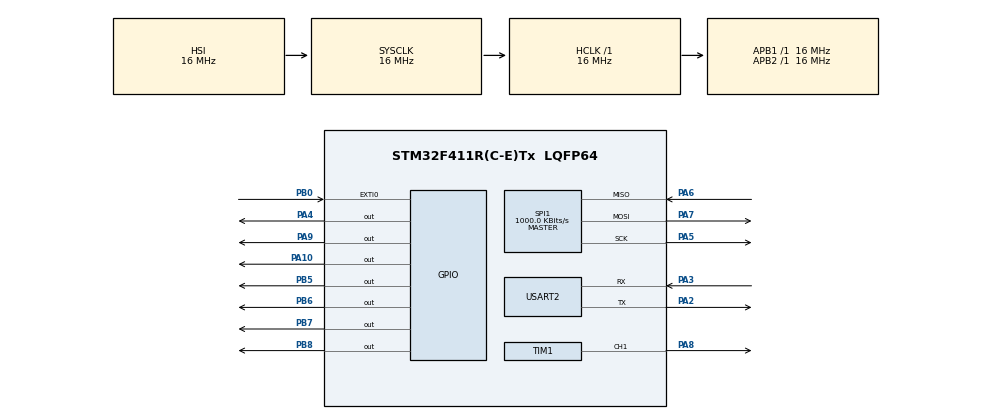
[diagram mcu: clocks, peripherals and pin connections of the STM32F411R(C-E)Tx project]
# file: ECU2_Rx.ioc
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Mcu.Family=STM32F4
Mcu.Name=STM32F411R(C-E)Tx
Mcu.Package=LQFP64
NVIC.EXTI0_IRQn=true\:0\:0\:false\:false\:true\:true\:true\:true
NVIC.PriorityGroup=NVIC_PRIORITYGROUP_4
PA10.Signal=GPIO_Output
PA2.Mode=Asynchronous
PA2.Signal=USART2_TX
PA3.Mode=Asynchronous
PA3.Signal=USART2_RX
PA4.Signal=GPIO_Output
PA5.Mode=Full_Duplex_Master
PA5.Signal=SPI1_SCK
PA6.Mode=Full_Duplex_Master
PA6.Signal=SPI1_MISO
PA7.Mode=Full_Duplex_Master
PA7.Signal=SPI1_MOSI
PA8.Signal=S_TIM1_CH1
PA9.Signal=GPIO_Output
PB0.GPIO_ModeDefaultEXTI=GPIO_MODE_IT_FALLING
PB0.GPIO_PuPd=GPIO_PULLUP
PB0.Signal=GPXTI0
PB5.Signal=GPIO_Output
PB6.Signal=GPIO_Output
PB7.Signal=GPIO_Output
PB8.Signal=GPIO_Output
ProjectManager.HeapSize=0x200
ProjectManager.StackSize=0x400
ProjectManager.TargetToolchain=STM32CubeIDE
RCC.AHBFreq_Value=16000000
RCC.APB1Freq_Value=16000000
RCC.APB2Freq_Value=16000000
RCC.CortexFreq_Value=16000000
RCC.HSE_VALUE=25000000
RCC.HSI_VALUE=16000000
RCC.LSE_VALUE=32768
RCC.SYSCLKFreq_VALUE=16000000
RCC.VCOOutputFreq_Value=192000000
SH.S_TIM1_CH1.0=TIM1_CH1,PWM Generation1 CH1
SPI1.BaudRatePrescaler=SPI_BAUDRATEPRESCALER_16
SPI1.CalculateBaudRate=1000.0 KBits/s
SPI1.Direction=SPI_DIRECTION_2LINES
SPI1.Mode=SPI_MODE_MASTER
SPI1.VirtualType=VM_MASTER
TIM1.Channel-PWM\ Generation1\ CH1=TIM_CHANNEL_1
TIM1.Period=99
TIM1.Prescaler=83
USART2.VirtualMode=VM_ASYNC
VP_TIM1_VS_ClockSourceINT.Mode=Internal
board=custom

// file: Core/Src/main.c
/* USER CODE BEGIN Header */
/**
  ******************************************************************************
  * @file           : main.c
  * @brief          : Main program body
  ******************************************************************************
  * @attention
  *
  * Copyright (c) 2026 STMicroelectronics.
  * All rights reserved.
  *
  * This software is licensed under terms that can be found in the LICENSE file
  * in the root directory of this software component.
  * If no LICENSE file comes with this software, it is provided AS-IS.
  *
  ******************************************************************************
  */
/* USER CODE END Header */
#include "main.h"

/* USER CODE BEGIN Includes */
#include "mcp2515.h"
#include <stdio.h>
#include <string.h>

/* USER CODE END Includes */

/* USER CODE BEGIN PD */
#define MOTOR_IN1_PORT GPIOA
#define MOTOR_IN1_PIN  GPIO_PIN_9

#define MOTOR_IN2_PORT GPIOA
#define MOTOR_IN2_PIN  GPIO_PIN_10

#define PWM_MAX        100

#define BUZZER_PORT GPIOB
#define BUZZER_PIN  GPIO_PIN_5

/* RGB LED */
#define RGB_R_PORT GPIOB
#define RGB_R_PIN  GPIO_PIN_6

#define RGB_G_PORT GPIOB
#define RGB_G_PIN  GPIO_PIN_7

#define RGB_B_PORT GPIOB
#define RGB_B_PIN  GPIO_PIN_8

/* USER CODE END PD */

SPI_HandleTypeDef hspi1;

TIM_HandleTypeDef htim1;

UART_HandleTypeDef huart2;

/* USER CODE BEGIN PV */
volatile uint8_t canRxFlag = 0;
char uartBuf[64];

/* USER CODE END PV */

void SystemClock_Config(void);
static void MX_GPIO_Init(void);
static void MX_SPI1_Init(void);
static void MX_TIM1_Init(void);
static void MX_USART2_UART_Init(void);

/* USER CODE BEGIN 0 */
void HAL_GPIO_EXTI_Callback(uint16_t GPIO_Pin)
{
    if(GPIO_Pin == GPIO_PIN_0)
    {
        canRxFlag = 1;
    }
}

void Motor_Stop(void)
{
    HAL_GPIO_WritePin(MOTOR_IN1_PORT, MOTOR_IN1_PIN, GPIO_PIN_RESET);
    HAL_GPIO_WritePin(MOTOR_IN2_PORT, MOTOR_IN2_PIN, GPIO_PIN_RESET);
    __HAL_TIM_SET_COMPARE(&htim1, TIM_CHANNEL_1, 0);
}

void Motor_Forward(uint8_t speed)
{
    HAL_GPIO_WritePin(MOTOR_IN1_PORT, MOTOR_IN1_PIN, GPIO_PIN_SET);
    HAL_GPIO_WritePin(MOTOR_IN2_PORT, MOTOR_IN2_PIN, GPIO_PIN_RESET);
    __HAL_TIM_SET_COMPARE(&htim1, TIM_CHANNEL_1, speed);
}

void Motor_Brake(void)
{
    HAL_GPIO_WritePin(MOTOR_IN1_PORT, MOTOR_IN1_PIN, GPIO_PIN_SET);
    HAL_GPIO_WritePin(MOTOR_IN2_PORT, MOTOR_IN2_PIN, GPIO_PIN_SET);
    __HAL_TIM_SET_COMPARE(&htim1, TIM_CHANNEL_1, 0);
}

void Buzzer_On(void)
{
    HAL_GPIO_WritePin(BUZZER_PORT, BUZZER_PIN, GPIO_PIN_SET);
}

void Buzzer_Off(void)
{
    HAL_GPIO_WritePin(BUZZER_PORT, BUZZER_PIN, GPIO_PIN_RESET);
}

/* ----------- RGB LED ----------- */
void RGB_Off(void)
{
    HAL_GPIO_WritePin(RGB_R_PORT, RGB_R_PIN, GPIO_PIN_RESET);
    HAL_GPIO_WritePin(RGB_G_PORT, RGB_G_PIN, GPIO_PIN_RESET);
    HAL_GPIO_WritePin(RGB_B_PORT, RGB_B_PIN, GPIO_PIN_RESET);
}

void RGB_Red(void)
{
    RGB_Off();
    HAL_GPIO_WritePin(RGB_R_PORT, RGB_R_PIN, GPIO_PIN_SET);
}

void RGB_Yellow(void)
{
    RGB_Off();
    HAL_GPIO_WritePin(RGB_R_PORT, RGB_R_PIN, GPIO_PIN_SET);
    HAL_GPIO_WritePin(RGB_G_PORT, RGB_G_PIN, GPIO_PIN_SET);
}

void RGB_Green(void)
{
    RGB_Off();
    HAL_GPIO_WritePin(RGB_G_PORT, RGB_G_PIN, GPIO_PIN_SET);
}

/* USER CODE END 0 */

int main(void)
{

  /* MCU Configuration--------------------------------------------------------*/

  /* Reset of all peripherals, Initializes the Flash interface and the Systick. */
  HAL_Init();

  /* Configure the system clock */
  SystemClock_Config();

  /* Initialize all configured peripherals */
  MX_GPIO_Init();
  MX_SPI1_Init();
  MX_TIM1_Init();
  MX_USART2_UART_Init();
  /* USER CODE BEGIN 2 */
  MCP2515_Init();
  HAL_TIM_PWM_Start(&htim1, TIM_CHANNEL_1);
  Motor_Stop();
  Buzzer_Off();
  RGB_Off();

  /* USER CODE END 2 */

  /* Infinite loop */
  /* USER CODE BEGIN WHILE */
  while (1)
  {
	    if(canRxFlag)
	    {
	        canRxFlag = 0;

	        uint16_t id;
	        uint8_t rxData[8];

	        if(MCP2515_ReceiveMessage(&id, rxData))
	        {
	            uint16_t distance = (rxData[0] << 8) | rxData[1];
	            uint8_t irLeft  = rxData[2];
	            uint8_t irRight = rxData[3];

	            sprintf(uartBuf,
	                    "Dist:%dcm | IR_L:%d | IR_R:%d\r\n",
	                    distance, irLeft, irRight);

	            HAL_UART_Transmit(&huart2,
	                              (uint8_t*)uartBuf,
	                              strlen(uartBuf),
	                              100);

	            /* Motor Control */

	            if(distance < 20 || (irLeft == 0 && irRight == 0))
	            {
	                Motor_Brake();
	                Buzzer_On();
	                RGB_Red();

	                sprintf(uartBuf, "BRAKE!\r\n");
	            }

	            else if(irLeft == 0 || irRight == 0)
	            {
	                Motor_Forward(40);
	                Buzzer_On();
	                RGB_Yellow();

	                sprintf(uartBuf, "OBSTACLE\r\n");
	            }

	            else if(distance < 50)
	            {
	                Motor_Forward(30);
	                Buzzer_Off();
	                RGB_Yellow();

	                sprintf(uartBuf, "SLOW\r\n");
	            }

	            else
	            {
	                Motor_Forward(70);
	                Buzzer_Off();
	                RGB_Off();          // <-- Turn OFF LED in normal state

	                sprintf(uartBuf, "NORMAL\r\n");
	            }

	            HAL_UART_Transmit(&huart2,
	                              (uint8_t*)uartBuf,
	                              strlen(uartBuf),
	                              100);
	        }
	    }
    /* USER CODE END WHILE */

  }
}

void SystemClock_Config(void)
{
  RCC_OscInitTypeDef RCC_OscInitStruct = {0};
  RCC_ClkInitTypeDef RCC_ClkInitStruct = {0};

  /** Configure the main internal regulator output voltage
  */
  __HAL_RCC_PWR_CLK_ENABLE();
  __HAL_PWR_VOLTAGESCALING_CONFIG(PWR_REGULATOR_VOLTAGE_SCALE1);

  /** Initializes the RCC Oscillators according to the specified parameters
  * in the RCC_OscInitTypeDef structure.
  */
  RCC_OscInitStruct.OscillatorType = RCC_OSCILLATORTYPE_HSI;
  RCC_OscInitStruct.HSIState = RCC_HSI_ON;
  RCC_OscInitStruct.HSICalibrationValue = RCC_HSICALIBRATION_DEFAULT;
  RCC_OscInitStruct.PLL.PLLState = RCC_PLL_NONE;
  if (HAL_RCC_OscConfig(&RCC_OscInitStruct) != HAL_OK)
  {
    Error_Handler();
  }

  /** Initializes the CPU, AHB and APB buses clocks
  */
  RCC_ClkInitStruct.ClockType = RCC_CLOCKTYPE_HCLK|RCC_CLOCKTYPE_SYSCLK
                              |RCC_CLOCKTYPE_PCLK1|RCC_CLOCKTYPE_PCLK2;
  RCC_ClkInitStruct.SYSCLKSource = RCC_SYSCLKSOURCE_HSI;
  RCC_ClkInitStruct.AHBCLKDivider = RCC_SYSCLK_DIV1;
  RCC_ClkInitStruct.APB1CLKDivider = RCC_HCLK_DIV1;
  RCC_ClkInitStruct.APB2CLKDivider = RCC_HCLK_DIV1;

  if (HAL_RCC_ClockConfig(&RCC_ClkInitStruct, FLASH_LATENCY_0) != HAL_OK)
  {
    Error_Handler();
  }
}

static void MX_SPI1_Init(void)
{

  /* SPI1 parameter configuration*/
  hspi1.Instance = SPI1;
  hspi1.Init.Mode = SPI_MODE_MASTER;
  hspi1.Init.Direction = SPI_DIRECTION_2LINES;
  hspi1.Init.DataSize = SPI_DATASIZE_8BIT;
  hspi1.Init.CLKPolarity = SPI_POLARITY_LOW;
  hspi1.Init.CLKPhase = SPI_PHASE_1EDGE;
  hspi1.Init.NSS = SPI_NSS_SOFT;
  hspi1.Init.BaudRatePrescaler = SPI_BAUDRATEPRESCALER_16;
  hspi1.Init.FirstBit = SPI_FIRSTBIT_MSB;
  hspi1.Init.TIMode = SPI_TIMODE_DISABLE;
  hspi1.Init.CRCCalculation = SPI_CRCCALCULATION_DISABLE;
  hspi1.Init.CRCPolynomial = 10;
  if (HAL_SPI_Init(&hspi1) != HAL_OK)
  {
    Error_Handler();
  }

}

static void MX_TIM1_Init(void)
{

  TIM_ClockConfigTypeDef sClockSourceConfig = {0};
  TIM_MasterConfigTypeDef sMasterConfig = {0};
  TIM_OC_InitTypeDef sConfigOC = {0};
  TIM_BreakDeadTimeConfigTypeDef sBreakDeadTimeConfig = {0};

  htim1.Instance = TIM1;
  htim1.Init.Prescaler = 83;
  htim1.Init.CounterMode = TIM_COUNTERMODE_UP;
  htim1.Init.Period = 99;
  htim1.Init.ClockDivision = TIM_CLOCKDIVISION_DIV1;
  htim1.Init.RepetitionCounter = 0;
  htim1.Init.AutoReloadPreload = TIM_AUTORELOAD_PRELOAD_DISABLE;
  if (HAL_TIM_Base_Init(&htim1) != HAL_OK)
  {
    Error_Handler();
  }
  sClockSourceConfig.ClockSource = TIM_CLOCKSOURCE_INTERNAL;
  if (HAL_TIM_ConfigClockSource(&htim1, &sClockSourceConfig) != HAL_OK)
  {
    Error_Handler();
  }
  if (HAL_TIM_PWM_Init(&htim1) != HAL_OK)
  {
    Error_Handler();
  }
  sMasterConfig.MasterOutputTrigger = TIM_TRGO_RESET;
  sMasterConfig.MasterSlaveMode = TIM_MASTERSLAVEMODE_DISABLE;
  if (HAL_TIMEx_MasterConfigSynchronization(&htim1, &sMasterConfig) != HAL_OK)
  {
    Error_Handler();
  }
  sConfigOC.OCMode = TIM_OCMODE_PWM1;
  sConfigOC.Pulse = 0;
  sConfigOC.OCPolarity = TIM_OCPOLARITY_HIGH;
  sConfigOC.OCNPolarity = TIM_OCNPOLARITY_HIGH;
  sConfigOC.OCFastMode = TIM_OCFAST_DISABLE;
  sConfigOC.OCIdleState = TIM_OCIDLESTATE_RESET;
  sConfigOC.OCNIdleState = TIM_OCNIDLESTATE_RESET;
  if (HAL_TIM_PWM_ConfigChannel(&htim1, &sConfigOC, TIM_CHANNEL_1) != HAL_OK)
  {
    Error_Handler();
  }
  sBreakDeadTimeConfig.OffStateRunMode = TIM_OSSR_DISABLE;
  sBreakDeadTimeConfig.OffStateIDLEMode = TIM_OSSI_DISABLE;
  sBreakDeadTimeConfig.LockLevel = TIM_LOCKLEVEL_OFF;
  sBreakDeadTimeConfig.DeadTime = 0;
  sBreakDeadTimeConfig.BreakState = TIM_BREAK_DISABLE;
  sBreakDeadTimeConfig.BreakPolarity = TIM_BREAKPOLARITY_HIGH;
  sBreakDeadTimeConfig.AutomaticOutput = TIM_AUTOMATICOUTPUT_DISABLE;
  if (HAL_TIMEx_ConfigBreakDeadTime(&htim1, &sBreakDeadTimeConfig) != HAL_OK)
  {
    Error_Handler();
  }
  HAL_TIM_MspPostInit(&htim1);

}

static void MX_USART2_UART_Init(void)
{

  huart2.Instance = USART2;
  huart2.Init.BaudRate = 115200;
  huart2.Init.WordLength = UART_WORDLENGTH_8B;
  huart2.Init.StopBits = UART_STOPBITS_1;
  huart2.Init.Parity = UART_PARITY_NONE;
  huart2.Init.Mode = UART_MODE_TX_RX;
  huart2.Init.HwFlowCtl = UART_HWCONTROL_NONE;
  huart2.Init.OverSampling = UART_OVERSAMPLING_16;
  if (HAL_UART_Init(&huart2) != HAL_OK)
  {
    Error_Handler();
  }

}

static void MX_GPIO_Init(void)
{
  GPIO_InitTypeDef GPIO_InitStruct = {0};

  /* GPIO Ports Clock Enable */
  __HAL_RCC_GPIOA_CLK_ENABLE();
  __HAL_RCC_GPIOB_CLK_ENABLE();

  /*Configure GPIO pin Output Level */
  HAL_GPIO_WritePin(GPIOA, GPIO_PIN_4|GPIO_PIN_9|GPIO_PIN_10, GPIO_PIN_RESET);

  /*Configure GPIO pin Output Level */
  HAL_GPIO_WritePin(GPIOB, GPIO_PIN_5|GPIO_PIN_6|GPIO_PIN_7|GPIO_PIN_8, GPIO_PIN_RESET);

  /*Configure GPIO pins : PA4 PA9 PA10 */
  GPIO_InitStruct.Pin = GPIO_PIN_4|GPIO_PIN_9|GPIO_PIN_10;
  GPIO_InitStruct.Mode = GPIO_MODE_OUTPUT_PP;
  GPIO_InitStruct.Pull = GPIO_NOPULL;
  GPIO_InitStruct.Speed = GPIO_SPEED_FREQ_LOW;
  HAL_GPIO_Init(GPIOA, &GPIO_InitStruct);

  /*Configure GPIO pin : PB0 */
  GPIO_InitStruct.Pin = GPIO_PIN_0;
  GPIO_InitStruct.Mode = GPIO_MODE_IT_FALLING;
  GPIO_InitStruct.Pull = GPIO_PULLUP;
  HAL_GPIO_Init(GPIOB, &GPIO_InitStruct);

  /*Configure GPIO pins : PB5 PB6 PB7 PB8 */
  GPIO_InitStruct.Pin = GPIO_PIN_5|GPIO_PIN_6|GPIO_PIN_7|GPIO_PIN_8;
  GPIO_InitStruct.Mode = GPIO_MODE_OUTPUT_PP;
  GPIO_InitStruct.Pull = GPIO_NOPULL;
  GPIO_InitStruct.Speed = GPIO_SPEED_FREQ_LOW;
  HAL_GPIO_Init(GPIOB, &GPIO_InitStruct);

  /* EXTI interrupt init*/
  HAL_NVIC_SetPriority(EXTI0_IRQn, 0, 0);
  HAL_NVIC_EnableIRQ(EXTI0_IRQn);

}

void Error_Handler(void)
{
  __disable_irq();
  while (1)
  {
  }
}
